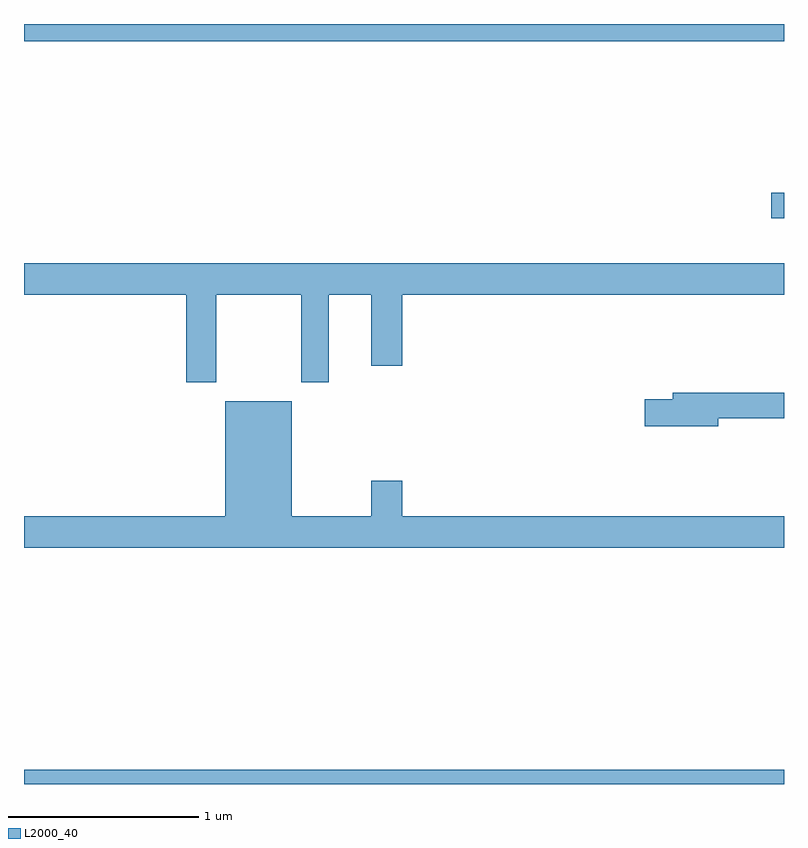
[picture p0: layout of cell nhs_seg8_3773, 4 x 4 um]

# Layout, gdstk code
import gdstk
lib = gdstk.Library(unit=1e-6, precision=1e-09)
def R(c, l, rs):  # rectangles x0, y0, x1, y1
    for r in rs: c.add(gdstk.rectangle(r[:2], r[2:], *l))
def P(c, l, *ps):  # polygons
    for p in ps: c.add(gdstk.Polygon(p, *l))
L2000_40 = (2000, 40)

nhs_seg8_3773 = lib.new_cell('nhs_seg8_3773')
R(nhs_seg8_3773, L2000_40, [(343,1137.9,347,1137.976), (346.932,1140.878,347,1141.013), (343,1141.808,347,1141.9)])
P(nhs_seg8_3773, L2000_40, [(344.013,1140.476),(344.458,1140.476),(344.458,1140.015),(344.605,1140.015),(344.605,1140.476),(344.828,1140.476),(344.828,1140.102),(344.992,1140.102),(344.992,1140.476),(347,1140.476),(347,1140.64),(343,1140.64),(343,1140.476),(343.853,1140.476),(343.853,1140.015),(344.013,1140.015)],
  [(346.654,1139.824),(347,1139.824),(347,1139.96),(346.415,1139.96),(346.415,1139.924),(346.266,1139.924),(346.266,1139.782),(346.654,1139.782)],
  [(347,1139.308),(344.992,1139.308),(344.992,1139.497),(344.828,1139.497),(344.828,1139.308),(344.41,1139.308),(344.41,1139.914),(344.06,1139.914),(344.06,1139.308),(343,1139.308),(343,1139.144),(347,1139.144)])

lib.write_gds('nhs_seg8_3773.gds')
